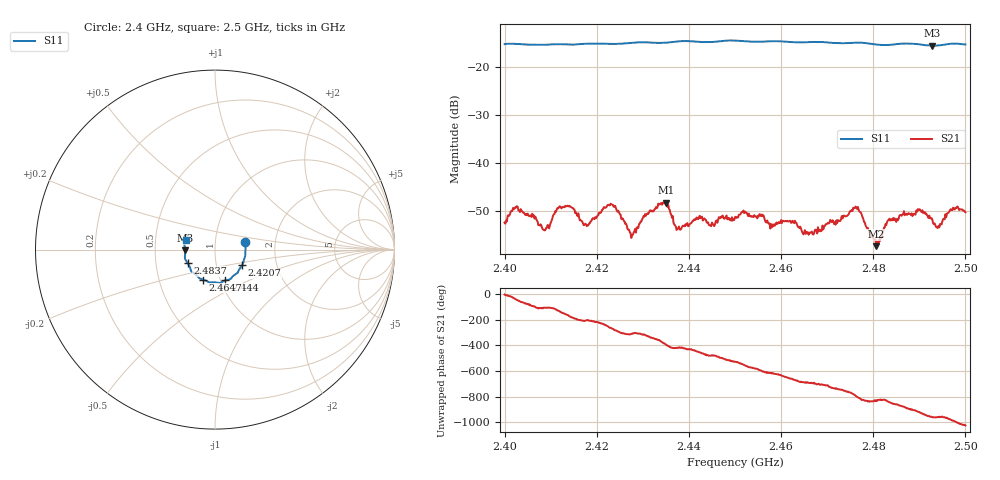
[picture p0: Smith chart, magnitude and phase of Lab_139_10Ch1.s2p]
# Hz S RI R 50
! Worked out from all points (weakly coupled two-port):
!   601 points, 2.4 GHz to 2.5 GHz, reference 50 ohm
!   highest |S21| = -48.22 dB at 2.435 GHz (marker M1); lowest = -57.3 dB at 2.4807 GHz (marker M2)
!   lowest |S11| = -15.6 dB at 2.4928 GHz (marker M3), VSWR 1.40, Z = 35.8 - j0.349 ohm
!   |S11| at or under -10 dB: start of sweep to end of sweep
!   S12 and S22 are empty: the file has one direction only
!   S11 on the Smith chart (normalised r, x): 2.4 GHz: 1.40, +0.12; 2.4207 GHz: 1.33, -0.24; 2.444 GHz: 1.06, -0.37; 2.4647 GHz: 0.83, -0.29; 2.4837 GHz: 0.73, -0.11; 2.5 GHz: 0.72, +0.08
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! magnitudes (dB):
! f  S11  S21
! 2.4 GHz  -15.3  -52.4
! 2.4023 GHz  -15.2  -49.2
! 2.4087 GHz  -15.4  -54.0
! 2.4137 GHz  -15.3  -48.9
! 2.4167 GHz  -15.2  -52.0
! 2.4207 GHz  -15.2  -50.4
! 2.4235 GHz  -15.2  -48.7
! 2.4277 GHz  -15.0  -55.0
! 2.4333 GHz  -15.0  -48.4
! 2.435 GHz  -15.0  -48.2
! 2.4377 GHz  -14.7  -53.6
! 2.444 GHz  -14.9  -52.5
! 2.45 GHz  -14.5  -51.3
! 2.4647 GHz  -14.9  -54.5
! 2.4667 GHz  -14.8  -54.3
! 2.4762 GHz  -15.0  -49.1
! 2.4807 GHz  -15.3  -57.3
! 2.4833 GHz  -15.4  -51.8
! 2.4837 GHz  -15.4  -52.0
! 2.4902 GHz  -15.3  -49.7
! 2.4928 GHz  -15.6  -51.8
! 2.5 GHz  -15.3  -50.2
